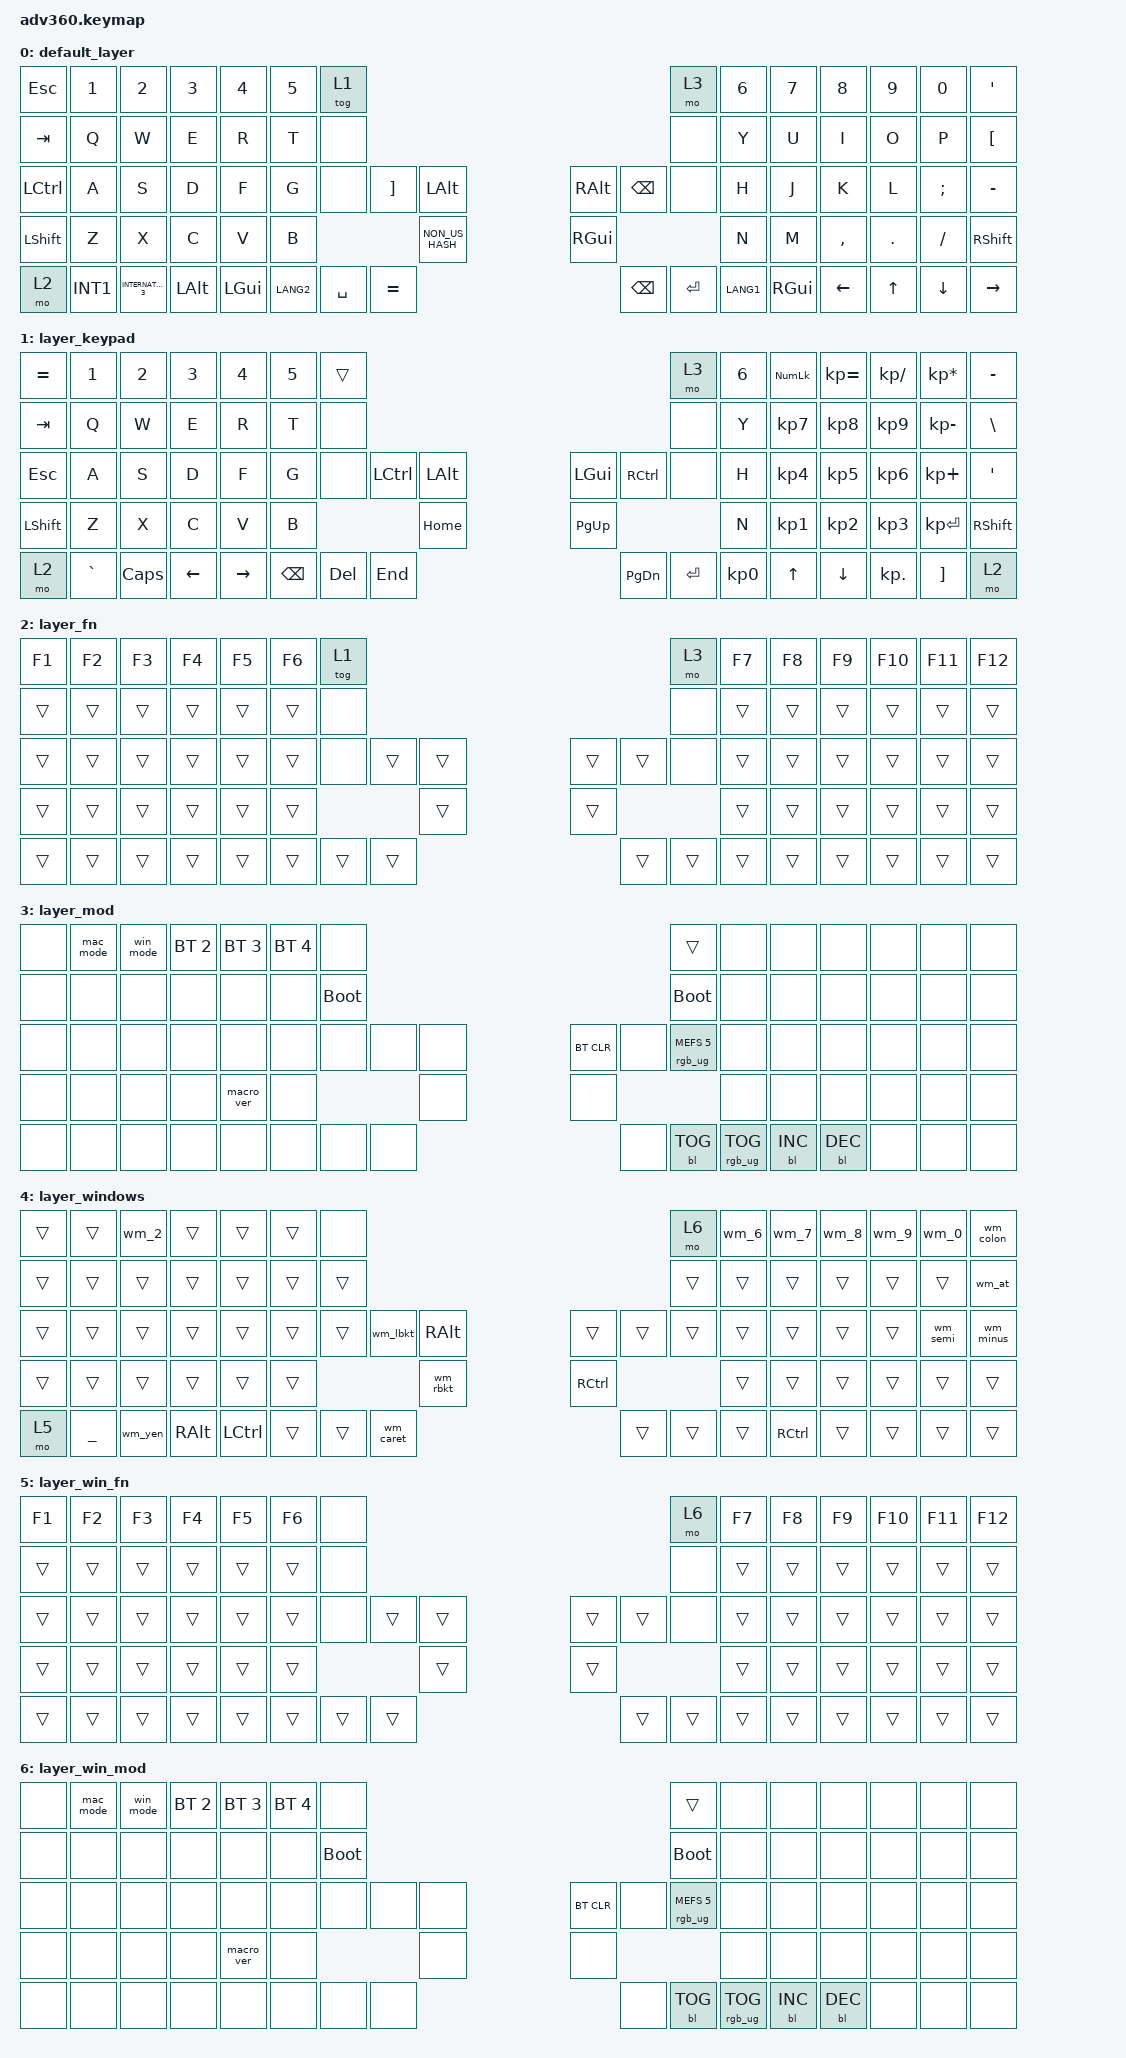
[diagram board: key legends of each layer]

/*
 * Copyright (c) 2020 The ZMK Contributors
 *
 * SPDX-License-Identifier: MIT
 */


/* THIS FILE WAS GENERATED!
 *
 * This file was generated automatically. You may or may not want to
 * edit it directly.
 */

#include <behaviors.dtsi>
#include <dt-bindings/zmk/keys.h>
#include <dt-bindings/zmk/bt.h>
#include <dt-bindings/zmk/rgb.h>
#include <dt-bindings/zmk/backlight.h>

/ {
  behaviors {
    #include "macros.dtsi"
    #include "version.dtsi"

    hm: homerow_mods {
        compatible = "zmk,behavior-hold-tap";
        label = "HOMEROW_MODS";
        #binding-cells = <2>;
        tapping-term-ms = <200>;
        quick_tap_ms = <175>;
        flavor = "tap-preferred";
        bindings = <&kp>, <&kp>;
    };

    /* Mac / Windows switching: select the Bluetooth profile and the matching layer in one key */
    mac_mode: mac_mode {
        compatible = "zmk,behavior-macro";
        label = "MAC_MODE";
        #binding-cells = <0>;
        bindings = <&bt BT_SEL 0>, <&to 0>;
    };
    win_mode: win_mode {
        compatible = "zmk,behavior-macro";
        label = "WIN_MODE";
        #binding-cells = <0>;
        bindings = <&bt BT_SEL 1>, <&to 4>;
    };

    /* Windows-mode symbol translation (JIS output on a US-layout PC). Shift selects the 2nd binding. */
    wm_2: wm_2 {
        compatible = "zmk,behavior-mod-morph";
        label = "WM_2";
        #binding-cells = <0>;
        bindings = <&kp N2>, <&kp DQT>;
        mods = <(MOD_LSFT|MOD_RSFT)>;
    };
    wm_6: wm_6 {
        compatible = "zmk,behavior-mod-morph";
        label = "WM_6";
        #binding-cells = <0>;
        bindings = <&kp N6>, <&kp AMPS>;
        mods = <(MOD_LSFT|MOD_RSFT)>;
    };
    wm_7: wm_7 {
        compatible = "zmk,behavior-mod-morph";
        label = "WM_7";
        #binding-cells = <0>;
        bindings = <&kp N7>, <&kp SQT>;
        mods = <(MOD_LSFT|MOD_RSFT)>;
    };
    wm_8: wm_8 {
        compatible = "zmk,behavior-mod-morph";
        label = "WM_8";
        #binding-cells = <0>;
        bindings = <&kp N8>, <&kp LPAR>;
        mods = <(MOD_LSFT|MOD_RSFT)>;
    };
    wm_9: wm_9 {
        compatible = "zmk,behavior-mod-morph";
        label = "WM_9";
        #binding-cells = <0>;
        bindings = <&kp N9>, <&kp RPAR>;
        mods = <(MOD_LSFT|MOD_RSFT)>;
    };
    wm_0: wm_0 {
        compatible = "zmk,behavior-mod-morph";
        label = "WM_0";
        #binding-cells = <0>;
        bindings = <&kp N0>, <&kp N0>;
        mods = <(MOD_LSFT|MOD_RSFT)>;
    };
    wm_colon: wm_colon {
        compatible = "zmk,behavior-mod-morph";
        label = "WM_COLON";
        #binding-cells = <0>;
        bindings = <&kp COLON>, <&kp ASTRK>;
        mods = <(MOD_LSFT|MOD_RSFT)>;
    };
    wm_at: wm_at {
        compatible = "zmk,behavior-mod-morph";
        label = "WM_AT";
        #binding-cells = <0>;
        bindings = <&kp AT>, <&kp GRAVE>;
        mods = <(MOD_LSFT|MOD_RSFT)>;
    };
    wm_lbkt: wm_lbkt {
        compatible = "zmk,behavior-mod-morph";
        label = "WM_LBKT";
        #binding-cells = <0>;
        bindings = <&kp LBKT>, <&kp LBRC>;
        mods = <(MOD_LSFT|MOD_RSFT)>;
    };
    wm_semi: wm_semi {
        compatible = "zmk,behavior-mod-morph";
        label = "WM_SEMI";
        #binding-cells = <0>;
        bindings = <&kp SEMI>, <&kp PLUS>;
        mods = <(MOD_LSFT|MOD_RSFT)>;
    };
    wm_minus: wm_minus {
        compatible = "zmk,behavior-mod-morph";
        label = "WM_MINUS";
        #binding-cells = <0>;
        bindings = <&kp MINUS>, <&kp EQUAL>;
        mods = <(MOD_LSFT|MOD_RSFT)>;
    };
    wm_rbkt: wm_rbkt {
        compatible = "zmk,behavior-mod-morph";
        label = "WM_RBKT";
        #binding-cells = <0>;
        bindings = <&kp RBKT>, <&kp RBRC>;
        mods = <(MOD_LSFT|MOD_RSFT)>;
    };
    wm_yen: wm_yen {
        compatible = "zmk,behavior-mod-morph";
        label = "WM_YEN";
        #binding-cells = <0>;
        bindings = <&kp BSLH>, <&kp PIPE>;
        mods = <(MOD_LSFT|MOD_RSFT)>;
    };
    wm_caret: wm_caret {
        compatible = "zmk,behavior-mod-morph";
        label = "WM_CARET";
        #binding-cells = <0>;
        bindings = <&kp CARET>, <&kp TILDE>;
        mods = <(MOD_LSFT|MOD_RSFT)>;
    };
  };

    keymap {
        compatible = "zmk,keymap";


        default_layer {
            bindings = <
   &kp ESC          &kp N1               &kp N2    &kp N3    &kp N4  &kp N5               &tog 1                                                                                        &mo 3  &kp N6    &kp N7     &kp N8   &kp N9    &kp N0  &kp SINGLE_QUOTE
   &kp TAB           &kp Q                &kp W     &kp E     &kp R   &kp T                &none                                                                                        &none   &kp Y     &kp U      &kp I    &kp O     &kp P  &kp LEFT_BRACKET
 &kp LCTRL           &kp A                &kp S     &kp D     &kp F   &kp G                &none  &kp RIGHT_BRACKET         &kp LALT                       &kp RALT  &kp BACKSPACE      &none   &kp H     &kp J      &kp K    &kp L  &kp SEMI         &kp MINUS
 &kp LSHFT           &kp Z                &kp X     &kp C     &kp V   &kp B                                          &kp NON_US_HASH                       &kp RGUI                             &kp N     &kp M  &kp COMMA  &kp DOT  &kp FSLH   &kp RIGHT_SHIFT
     &mo 2  &kp INT1        &kp INTERNATIONAL_3  &kp LALT  &kp LGUI                    &kp LANG2          &kp SPACE        &kp EQUAL                  &kp BACKSPACE      &kp ENTER  &kp LANG1          &kp RGUI   &kp LEFT   &kp UP  &kp DOWN         &kp RIGHT
            >;
        };

        layer_keypad {
            bindings = <
 &kp EQUAL     &kp N1    &kp N2    &kp N3     &kp N4  &kp N5              &trans                                                                 &mo 3  &kp N6  &kp KP_NUM  &kp KP_EQUAL  &kp KP_DIVIDE  &kp KP_MULTIPLY  &kp MINUS
   &kp TAB      &kp Q     &kp W     &kp E      &kp R   &kp T               &none                                                                 &none   &kp Y   &kp KP_N7     &kp KP_N8      &kp KP_N9     &kp KP_MINUS   &kp BSLH
   &kp ESC      &kp A     &kp S     &kp D      &kp F   &kp G               &none  &kp LCTRL  &kp LALT                   &kp LGUI  &kp RCTRL      &none   &kp H   &kp KP_N4     &kp KP_N5      &kp KP_N6      &kp KP_PLUS    &kp SQT
 &kp LSHFT      &kp Z     &kp X     &kp C      &kp V   &kp B                                 &kp HOME                  &kp PG_UP                         &kp N   &kp KP_N1     &kp KP_N2      &kp KP_N3     &kp KP_ENTER  &kp RSHFT
     &mo 2  &kp GRAVE  &kp CAPS  &kp LEFT  &kp RIGHT                    &kp BSPC    &kp DEL   &kp END                  &kp PG_DN  &kp ENTER  &kp KP_N0              &kp UP      &kp DOWN     &kp KP_DOT         &kp RBKT      &mo 2
            >;
        };

        layer_fn {
            bindings = <
 &kp F1  &kp F2  &kp F3  &kp F4  &kp F5  &kp F6            &tog 1                                                   &mo 3  &kp F7  &kp F8  &kp F9  &kp F10  &kp F11  &kp F12
 &trans  &trans  &trans  &trans  &trans  &trans             &none                                                   &none  &trans  &trans  &trans   &trans   &trans   &trans
 &trans  &trans  &trans  &trans  &trans  &trans             &none  &trans  &trans                  &trans  &trans   &none  &trans  &trans  &trans   &trans   &trans   &trans
 &trans  &trans  &trans  &trans  &trans  &trans                            &trans                  &trans                  &trans  &trans  &trans   &trans   &trans   &trans
 &trans  &trans  &trans  &trans  &trans                    &trans  &trans  &trans                  &trans  &trans  &trans          &trans  &trans   &trans   &trans   &trans
            >;
        };

        layer_mod {
            bindings = <
  &none  &mac_mode     &win_mode     &bt BT_SEL 2  &bt BT_SEL 3  &bt BT_SEL 4                  &none                                                                          &trans   &none       &none       &none   &none   &none   &none
  &none         &none         &none         &none         &none         &none            &bootloader                                                                     &bootloader   &none       &none       &none   &none   &none   &none
  &none         &none         &none         &none         &none         &none                  &none   &none   &none                  &bt BT_CLR       &none  &rgb_ug RGB_MEFS_CMD 5   &none       &none       &none   &none   &none   &none
  &none         &none         &none         &none    &macro_ver         &none                                  &none                       &none                                       &none       &none       &none   &none   &none   &none
  &none         &none         &none         &none         &none                                &none   &none   &none                       &none  &bl BL_TOG         &rgb_ug RGB_TOG          &bl BL_INC  &bl BL_DEC   &none   &none   &none
            >;
        };

        /* Windows layer (index 4): activated by &win_mode. Command keys -> Ctrl, Option -> right Alt, JIS symbols translated for a US-layout PC, Fn/Mod redirected to layers 5/6, kp disabled. */
        layer_windows {
            bindings = <
  &trans &trans &wm_2 &trans &trans &trans &none    &mo 6 &wm_6 &wm_7 &wm_8 &wm_9 &wm_0 &wm_colon
  &trans &trans &trans &trans &trans &trans &trans    &trans &trans &trans &trans &trans &trans &wm_at
  &trans &trans &trans &trans &trans &trans &trans &wm_lbkt &kp RALT    &trans &trans &trans &trans &trans &trans &trans &wm_semi &wm_minus
  &trans &trans &trans &trans &trans &trans &wm_rbkt    &kp RCTRL &trans &trans &trans &trans &trans &trans
  &mo 5 &kp UNDERSCORE &wm_yen &kp RALT &kp LCTRL &trans &trans &wm_caret    &trans &trans &trans &kp RCTRL &trans &trans &trans &trans
            >;
        };

        /* Windows-mode Fn (index 5): copy of layer_fn; kp disabled, Mod -> layer 6 */
        layer_win_fn {
            bindings = <
 &kp F1  &kp F2  &kp F3  &kp F4  &kp F5  &kp F6            &none                                                    &mo 6  &kp F7  &kp F8  &kp F9  &kp F10  &kp F11  &kp F12
 &trans  &trans  &trans  &trans  &trans  &trans             &none                                                   &none  &trans  &trans  &trans   &trans   &trans   &trans
 &trans  &trans  &trans  &trans  &trans  &trans             &none  &trans  &trans                  &trans  &trans   &none  &trans  &trans  &trans   &trans   &trans   &trans
 &trans  &trans  &trans  &trans  &trans  &trans                            &trans                  &trans                  &trans  &trans  &trans   &trans   &trans   &trans
 &trans  &trans  &trans  &trans  &trans                    &trans  &trans  &trans                  &trans  &trans  &trans          &trans  &trans   &trans   &trans   &trans
            >;
        };

        /* Windows-mode Mod (index 6): exact copy of layer_mod */
        layer_win_mod {
            bindings = <
  &none  &mac_mode     &win_mode     &bt BT_SEL 2  &bt BT_SEL 3  &bt BT_SEL 4                  &none                                                                          &trans   &none       &none       &none   &none   &none   &none
  &none         &none         &none         &none         &none         &none            &bootloader                                                                     &bootloader   &none       &none       &none   &none   &none   &none
  &none         &none         &none         &none         &none         &none                  &none   &none   &none                  &bt BT_CLR       &none  &rgb_ug RGB_MEFS_CMD 5   &none       &none       &none   &none   &none   &none
  &none         &none         &none         &none    &macro_ver         &none                                  &none                       &none                                       &none       &none       &none   &none   &none   &none
  &none         &none         &none         &none         &none                                &none   &none   &none                       &none  &bl BL_TOG         &rgb_ug RGB_TOG          &bl BL_INC  &bl BL_DEC   &none   &none   &none
            >;
        };

    };
};
